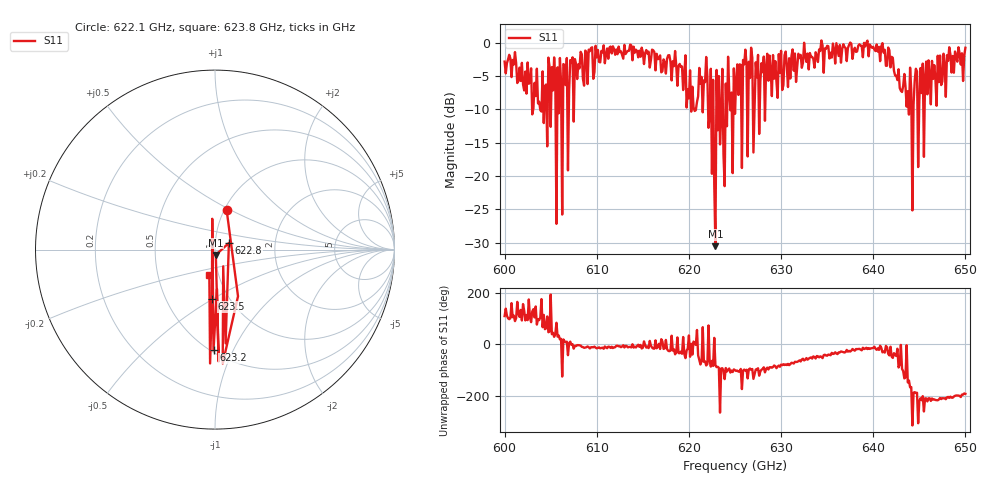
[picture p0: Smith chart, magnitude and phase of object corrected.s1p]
!Created with skrf (http://scikit-rf.org).
# GHz S MA R 50.0
!freq magS11 angS11
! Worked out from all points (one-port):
!   401 points, 600 GHz to 650 GHz, reference 50 ohm
!   lowest |S11| = -30.5 dB at 622.9 GHz (marker M1), VSWR 1.06, Z = 50.4 - j2.97 ohm
!   |S11| at or under -10 dB: 603.8628 GHz to 604.0071 GHz (144.3 MHz wide, 0.0239 % of centre); 620.5675 GHz to 620.7635 GHz (196 MHz wide, 0.0316 % of centre); 622.0799 GHz to 622.2638 GHz (184 MHz wide, 0.0296 % of centre) (the widest 3 of 32)
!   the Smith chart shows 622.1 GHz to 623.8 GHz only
!   S11 on the Smith chart (normalised r, x): 622.1 GHz: 1.03, +0.48; 622.8 GHz: 1.16, +0.09; 623.2 GHz: 0.51, -0.84; 623.5 GHz: 0.83, -0.49; 623.8 GHz: 0.90, -0.26
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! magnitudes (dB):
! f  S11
! 600 GHz  -2.9
! 604 GHz  -10.3
! 605 GHz  -12.6
! 605.6 GHz  -27.2
! 606.2 GHz  -25.8
! 608.1 GHz  -3.9
! 612.5 GHz  -1.4
! 618.8 GHz  -6.5
! 620.5 GHz  -9.7
! 622.1 GHz  -12.8
! 622.8 GHz  -21.4
! 622.9 GHz  -30.5
! 623.2 GHz  -5.0
! 623.5 GHz  -11.2
! 623.6 GHz  -3.9
! 623.8 GHz  -16.8
! 624.2 GHz  -2.1
! 625 GHz  -10.7
! 625.4 GHz  -7.9
! 625.5 GHz  -3.3
! 627.1 GHz  -9.5
! 631.2 GHz  -1.0
! 637.5 GHz  0.0
! 641.9 GHz  -3.7
! 643.8 GHz  -7.3
! 644.1 GHz  -7.1
! 645.9 GHz  -7.8
! 650 GHz  -0.8
